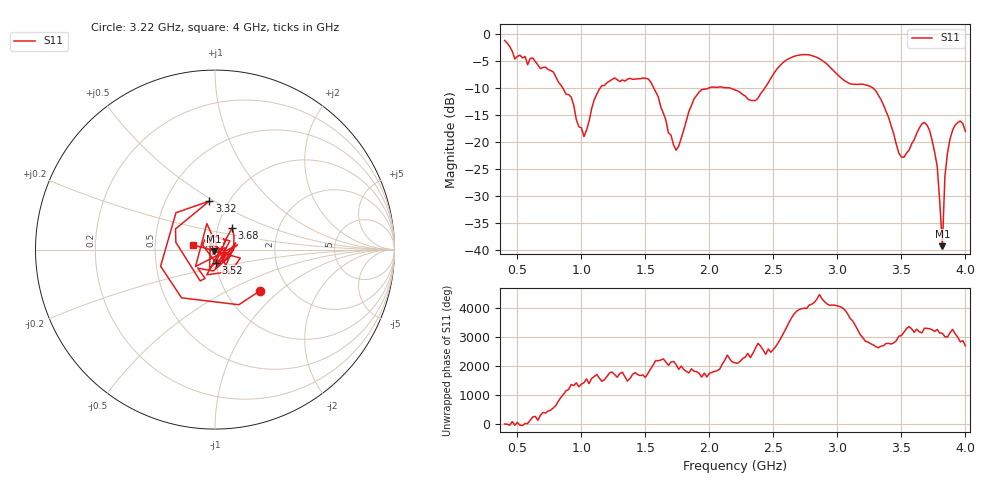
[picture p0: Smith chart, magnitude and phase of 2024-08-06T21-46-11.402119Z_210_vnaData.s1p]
!Created with skrf (http://scikit-rf.org).
# Hz S RI R 50.0
!freq ReS11 ImS11
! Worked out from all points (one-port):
!   181 points, 400 MHz to 4 GHz, reference 50 ohm
!   lowest |S11| = -39.3 dB at 3.82 GHz (marker M1), VSWR 1.02, Z = 49.4 - j0.903 ohm
!   |S11| at or under -10 dB: 855.3 MHz to 1.146 GHz (290.3 MHz wide, 29 % of centre); 1.566 GHz to 1.992 GHz (425.7 MHz wide, 23.9 % of centre); 3.281 GHz to end of sweep (the widest 3 of 4)
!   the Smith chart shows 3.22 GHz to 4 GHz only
!   S11 on the Smith chart (normalised r, x): 3.22 GHz: 1.44, -0.75; 3.32 GHz: 0.81, +0.48; 3.52 GHz: 1.00, -0.14; 3.68 GHz: 1.17, +0.29; 4 GHz: 0.78, +0.04
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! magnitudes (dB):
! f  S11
! 400 MHz  -1.1
! 480 MHz  -4.6
! 620 MHz  -4.4
! 860 MHz  -10.2
! 920 MHz  -11.6
! 1.02 GHz  -19.0
! 1.14 GHz  -10.2
! 1.3 GHz  -8.8
! 1.52 GHz  -8.2
! 1.72 GHz  -20.6
! 1.76 GHz  -20.8
! 1.92 GHz  -10.7
! 2.2 GHz  -10.3
! 2.36 GHz  -12.3
! 2.66 GHz  -4.1
! 2.86 GHz  -4.5
! 3.1 GHz  -9.2
! 3.22 GHz  -9.4
! 3.32 GHz  -11.3
! 3.52 GHz  -22.8
! 3.56 GHz  -21.5
! 3.68 GHz  -16.4
! 3.78 GHz  -24.6
! 3.82 GHz  -39.3
! 3.84 GHz  -26.4
! 3.88 GHz  -19.4
! 3.96 GHz  -16.1
! 4 GHz  -18.0
